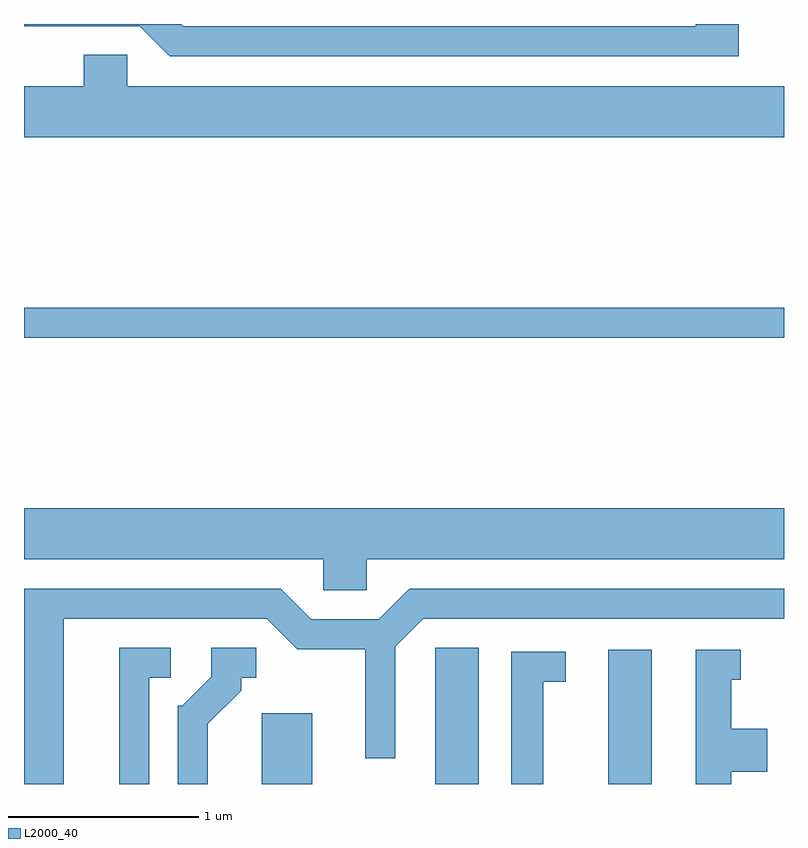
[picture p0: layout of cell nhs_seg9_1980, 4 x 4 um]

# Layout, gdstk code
import gdstk
lib = gdstk.Library(unit=1e-6, precision=1e-09)
def R(c, l, rs):  # rectangles x0, y0, x1, y1
    for r in rs: c.add(gdstk.rectangle(r[:2], r[2:], *l))
def P(c, l, *ps):  # polygons
    for p in ps: c.add(gdstk.Polygon(p, *l))
L2000_40 = (2000, 40)

nhs_seg9_1980 = lib.new_cell('nhs_seg9_1980')
R(nhs_seg9_1980, L2000_40, [(244.861,1968.432,245.129,1968.804), (245.776,1968.432,246.004,1969.149), (246.686,1968.432,246.914,1969.139), (243.611,1970.781,247.611,1970.939)])
P(nhs_seg9_1980, L2000_40, [(247.374,1972.432),(247.146,1972.432),(247.146,1972.419),(244.452,1972.419),(244.439,1972.432),(243.611,1972.432),(243.611,1972.421),(244.219,1972.421),(244.379,1972.261),(247.374,1972.261)],
  [(247.611,1972.104),(244.154,1972.104),(244.154,1972.269),(243.926,1972.269),(243.926,1972.104),(243.611,1972.104),(243.611,1971.836),(247.611,1971.836)],
  [(245.414,1969.616),(247.611,1969.616),(247.611,1969.884),(243.611,1969.884),(243.611,1969.616),(245.186,1969.616),(245.186,1969.451),(245.414,1969.451)],
  [(243.819,1969.301),(244.889,1969.301),(245.049,1969.141),(245.406,1969.141),(245.406,1968.568),(245.564,1968.568),(245.564,1969.154),(245.712,1969.301),(247.611,1969.301),(247.611,1969.459),(245.639,1969.459),(245.479,1969.299),(245.122,1969.299),(244.962,1969.459),(243.611,1969.459),(243.611,1968.432),(243.819,1968.432)],
  [(244.269,1968.991),(244.383,1968.991),(244.383,1969.149),(244.111,1969.149),(244.111,1968.432),(244.269,1968.432)],
  [(244.579,1968.749),(244.754,1968.924),(244.754,1968.991),(244.833,1968.991),(244.833,1969.149),(244.596,1969.149),(244.596,1968.997),(244.444,1968.844),(244.421,1968.844),(244.421,1968.432),(244.579,1968.432)],
  [(247.334,1968.496),(247.524,1968.496),(247.524,1968.724),(247.334,1968.724),(247.334,1968.981),(247.383,1968.981),(247.383,1969.139),(247.146,1969.139),(247.146,1968.432),(247.334,1968.432)],
  [(246.344,1968.971),(246.463,1968.971),(246.463,1969.129),(246.176,1969.129),(246.176,1968.432),(246.344,1968.432)])

lib.write_gds('nhs_seg9_1980.gds')
